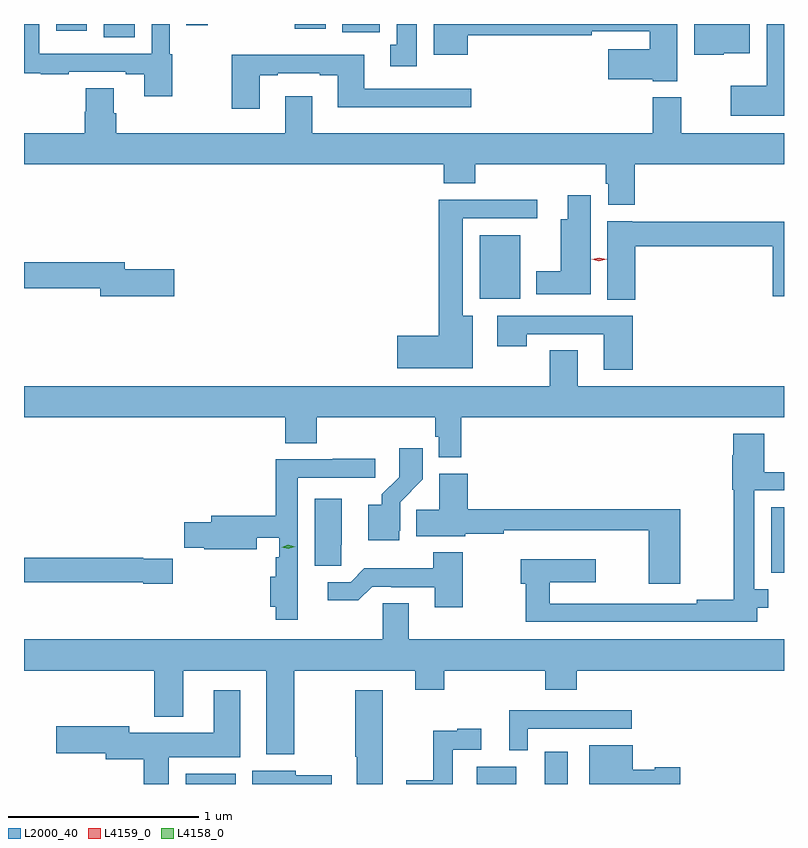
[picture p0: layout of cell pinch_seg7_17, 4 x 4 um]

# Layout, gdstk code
import gdstk
lib = gdstk.Library(unit=1e-6, precision=1e-09)
def R(c, l, rs):  # rectangles x0, y0, x1, y1
    for r in rs: c.add(gdstk.rectangle(r[:2], r[2:], *l))
def P(c, l, *ps):  # polygons
    for p in ps: c.add(gdstk.Polygon(p, *l))
L2000_40 = (2000, 40)
L4158_0 = (4158, 0)
L4159_0 = (4159, 0)

pinch_seg7_17 = lib.new_cell('pinch_seg7_17')
R(pinch_seg7_17, L2000_40, [(1022.048,1051.967,1022.311,1052.02), (1023.581,1051.967,1023.787,1052.059), (1023.938,1051.967,1024.06,1052.137), (1025.129,1053.08,1025.197,1053.424), (1023.596,1054.52,1023.808,1054.855), (1021.616,1055.896,1021.78,1055.967), (1022.873,1055.924,1023.07,1055.967), (1021.367,1055.931,1021.528,1055.967), (1022.621,1055.942,1022.785,1055.967), (1022.052,1055.96,1022.164,1055.967)])
P(pinch_seg7_17, L2000_40, [(1024.881,1055.813),(1025.017,1055.813),(1025.017,1055.967),(1024.724,1055.967),(1024.724,1055.804),(1024.881,1055.804)],
  [(1023.265,1055.967),(1023.158,1055.967),(1023.158,1055.858),(1023.125,1055.858),(1023.125,1055.745),(1023.265,1055.745)],
  [(1025.197,1055.967),(1025.105,1055.967),(1025.105,1055.641),(1024.917,1055.641),(1024.917,1055.483),(1025.197,1055.483)],
  [(1021.978,1055.808),(1021.965,1055.808),(1021.965,1055.967),(1021.869,1055.967),(1021.869,1055.811),(1021.278,1055.811),(1021.278,1055.967),(1021.197,1055.967),(1021.197,1055.709),(1021.285,1055.709),(1021.285,1055.703),(1021.433,1055.703),(1021.433,1055.715),(1021.733,1055.715),(1021.733,1055.703),(1021.829,1055.703),(1021.829,1055.586),(1021.978,1055.586)],
  [(1024.636,1055.967),(1023.353,1055.967),(1023.353,1055.804),(1023.532,1055.804),(1023.532,1055.908),(1024.184,1055.908),(1024.184,1055.928),(1024.49,1055.928),(1024.49,1055.833),(1024.272,1055.833),(1024.272,1055.675),(1024.506,1055.675),(1024.506,1055.666),(1024.636,1055.666)],
  [(1022.437,1055.697),(1022.533,1055.697),(1022.533,1055.709),(1022.753,1055.709),(1022.753,1055.697),(1022.849,1055.697),(1022.849,1055.528),(1023.55,1055.528),(1023.55,1055.625),(1022.989,1055.625),(1022.989,1055.806),(1022.29,1055.806),(1022.29,1055.52),(1022.437,1055.52)],
  [(1024.412,1055.228),(1025.197,1055.228),(1025.197,1055.392),(1024.657,1055.392),(1024.657,1055.581),(1024.505,1055.581),(1024.505,1055.392),(1022.713,1055.392),(1022.713,1055.587),(1022.573,1055.587),(1022.573,1055.392),(1021.682,1055.392),(1021.682,1055.498),(1021.669,1055.498),(1021.669,1055.63),(1021.522,1055.63),(1021.522,1055.505),(1021.517,1055.505),(1021.517,1055.392),(1021.197,1055.392),(1021.197,1055.228),(1023.407,1055.228),(1023.407,1055.129),(1023.572,1055.129),(1023.572,1055.228),(1024.259,1055.228),(1024.259,1055.127),(1024.271,1055.127),(1024.271,1055.015),(1024.412,1055.015)],
  [(1024.18,1055.065),(1024.058,1055.065),(1024.058,1054.939),(1024.022,1054.939),(1024.022,1054.666),(1023.893,1054.666),(1023.893,1054.544),(1024.18,1054.544)],
  [(1023.559,1054.432),(1023.505,1054.432),(1023.505,1054.944),(1023.898,1054.944),(1023.898,1055.042),(1023.38,1055.042),(1023.38,1054.325),(1023.162,1054.325),(1023.162,1054.154),(1023.559,1054.154)],
  [(1024.415,1054.798),(1025.138,1054.798),(1025.138,1054.533),(1025.197,1054.533),(1025.197,1054.927),(1024.398,1054.927),(1024.398,1054.93),(1024.268,1054.93),(1024.268,1054.516),(1024.415,1054.516)],
  [(1021.987,1054.676),(1021.726,1054.676),(1021.726,1054.712),(1021.197,1054.712),(1021.197,1054.576),(1021.598,1054.576),(1021.598,1054.534),(1021.987,1054.534)],
  [(1024.4,1054.431),(1023.687,1054.431),(1023.687,1054.272),(1023.843,1054.272),(1023.843,1054.335),(1024.247,1054.335),(1024.247,1054.146),(1024.4,1054.146)],
  [(1023.497,1053.896),(1025.197,1053.896),(1025.197,1054.06),(1024.111,1054.06),(1024.111,1054.25),(1023.964,1054.25),(1023.964,1054.06),(1021.197,1054.06),(1021.197,1053.896),(1022.573,1053.896),(1022.573,1053.76),(1022.738,1053.76),(1022.738,1053.896),(1023.361,1053.896),(1023.361,1053.795),(1023.381,1053.795),(1023.381,1053.686),(1023.497,1053.686)],
  [(1025.056,1052.894),(1025.113,1052.894),(1025.113,1052.991),(1025.04,1052.991),(1025.04,1053.513),(1025.197,1053.513),(1025.197,1053.609),(1025.092,1053.609),(1025.092,1053.811),(1024.93,1053.811),(1024.93,1053.698),(1024.924,1053.698),(1024.924,1053.516),(1024.932,1053.516),(1024.932,1052.936),(1024.738,1052.936),(1024.738,1052.916),(1023.965,1052.916),(1023.965,1053.029),(1024.207,1053.029),(1024.207,1053.151),(1023.811,1053.151),(1023.811,1053.022),(1023.837,1053.022),(1023.837,1052.82),(1025.056,1052.82)],
  [(1023.172,1053.3),(1023.177,1053.3),(1023.177,1053.451),(1023.296,1053.57),(1023.296,1053.733),(1023.171,1053.733),(1023.171,1053.581),(1023.08,1053.491),(1023.08,1053.436),(1023.008,1053.436),(1023.008,1053.251),(1023.172,1053.251)],
  [(1022.638,1053.054),(1022.637,1053.054),(1022.637,1053.579),(1023.046,1053.579),(1023.046,1053.678),(1022.821,1053.678),(1022.821,1053.675),(1022.521,1053.675),(1022.521,1053.38),(1022.183,1053.38),(1022.183,1053.344),(1022.041,1053.344),(1022.041,1053.21),(1022.146,1053.21),(1022.146,1053.202),(1022.422,1053.202),(1022.422,1053.263),(1022.541,1053.263),(1022.541,1053.161),(1022.521,1053.161),(1022.521,1053.058),(1022.492,1053.058),(1022.492,1052.9),(1022.521,1052.9),(1022.521,1052.832),(1022.638,1052.832)],
  [(1024.65,1053.412),(1023.533,1053.412),(1023.533,1053.601),(1023.383,1053.601),(1023.383,1053.41),(1023.262,1053.41),(1023.262,1053.272),(1023.52,1053.272),(1023.52,1053.283),(1023.722,1053.283),(1023.722,1053.302),(1024.484,1053.302),(1024.484,1053.021),(1024.65,1053.021)],
  [(1022.868,1053.226),(1022.869,1053.226),(1022.869,1053.469),(1022.726,1053.469),(1022.726,1053.115),(1022.868,1053.115)],
  [(1023.507,1053.187),(1023.352,1053.187),(1023.352,1053.103),(1022.989,1053.103),(1022.916,1053.03),(1022.796,1053.03),(1022.796,1052.933),(1022.957,1052.933),(1023.03,1053.006),(1023.13,1053.006),(1023.13,1053.003),(1023.359,1053.003),(1023.359,1052.898),(1023.507,1052.898)],
  [(1021.979,1053.152),(1021.824,1053.152),(1021.824,1053.158),(1021.197,1053.158),(1021.197,1053.03),(1021.824,1053.03),(1021.824,1053.022),(1021.979,1053.022)],
  [(1022.619,1052.564),(1023.257,1052.564),(1023.257,1052.462),(1023.41,1052.462),(1023.41,1052.564),(1023.941,1052.564),(1023.941,1052.462),(1024.106,1052.462),(1024.106,1052.564),(1025.197,1052.564),(1025.197,1052.728),(1023.223,1052.728),(1023.223,1052.918),(1023.084,1052.918),(1023.084,1052.728),(1021.197,1052.728),(1021.197,1052.564),(1021.883,1052.564),(1021.883,1052.321),(1022.035,1052.321),(1022.035,1052.564),(1022.471,1052.564),(1022.471,1052.123),(1022.619,1052.123)],
  [(1021.96,1052.108),(1022.335,1052.108),(1022.335,1052.461),(1022.195,1052.461),(1022.195,1052.236),(1021.752,1052.236),(1021.752,1052.271),(1021.368,1052.271),(1021.368,1052.129),(1021.628,1052.129),(1021.628,1052.096),(1021.826,1052.096),(1021.826,1051.967),(1021.96,1051.967)],
  [(1023.085,1052.461),(1022.941,1052.461),(1022.941,1052.11),(1022.948,1052.11),(1022.948,1051.967),(1023.085,1051.967)],
  [(1023.849,1052.259),(1024.396,1052.259),(1024.396,1052.355),(1023.752,1052.355),(1023.752,1052.144),(1023.849,1052.144)],
  [(1023.453,1052.148),(1023.604,1052.148),(1023.604,1052.257),(1023.476,1052.257),(1023.476,1052.246),(1023.352,1052.246),(1023.352,1051.986),(1023.21,1051.986),(1023.21,1051.967),(1023.453,1051.967)],
  [(1024.651,1052.054),(1024.518,1052.054),(1024.518,1052.041),(1024.402,1052.041),(1024.402,1052.17),(1024.172,1052.17),(1024.172,1051.967),(1024.651,1051.967)],
  [(1022.818,1052.014),(1022.628,1052.014),(1022.628,1052.038),(1022.399,1052.038),(1022.399,1051.967),(1022.818,1051.967)])
P(pinch_seg7_17, L4158_0, [(1022.589,1053.205),(1022.553,1053.214),(1022.553,1053.214),(1022.553,1053.214),(1022.588,1053.225),(1022.625,1053.216),(1022.625,1053.216),(1022.625,1053.216)])
P(pinch_seg7_17, L4159_0, [(1024.223,1054.718),(1024.184,1054.729),(1024.184,1054.729),(1024.184,1054.729),(1024.224,1054.738),(1024.263,1054.728),(1024.263,1054.728),(1024.263,1054.728)])

lib.write_gds('pinch_seg7_17.gds')
